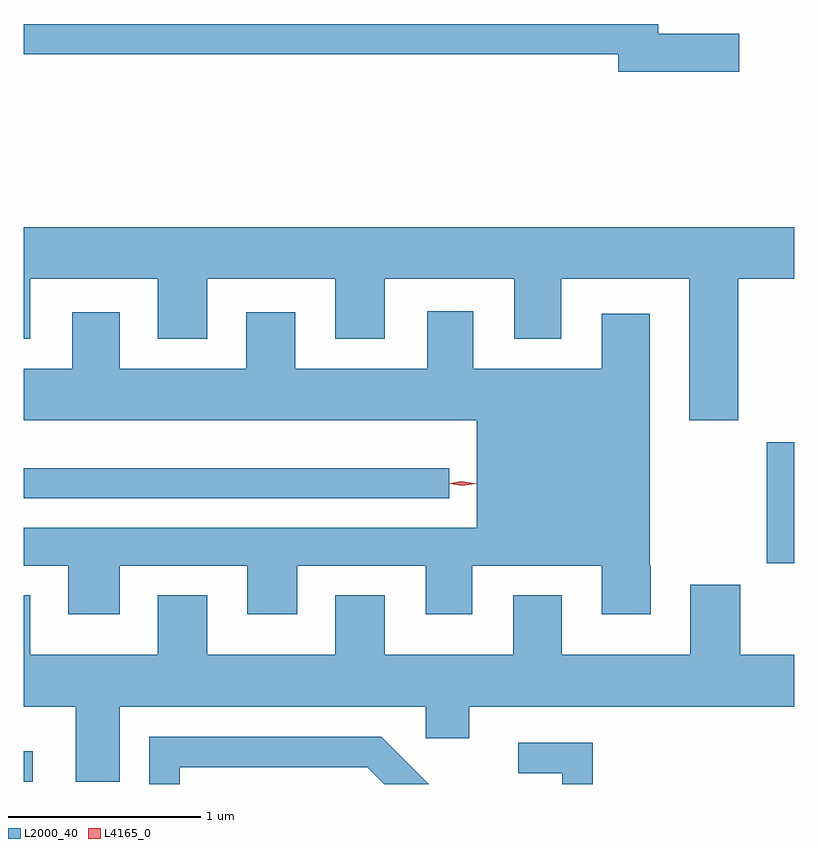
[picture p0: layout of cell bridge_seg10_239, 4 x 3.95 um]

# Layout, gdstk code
import gdstk
lib = gdstk.Library(unit=1e-6, precision=1e-09)
def R(c, l, rs):  # rectangles x0, y0, x1, y1
    for r in rs: c.add(gdstk.rectangle(r[:2], r[2:], *l))
def P(c, l, *ps):  # polygons
    for p in ps: c.add(gdstk.Polygon(p, *l))
L2000_40 = (2000, 40)
L4165_0 = (4165, 0)

bridge_seg10_239 = lib.new_cell('bridge_seg10_239')
R(bridge_seg10_239, L2000_40, [(1780.61,2097.986,1780.658,2098.144), (1784.466,2099.121,1784.61,2099.749), (1780.61,2099.456,1782.818,2099.614)])
P(bridge_seg10_239, L2000_40, [(1784.324,2101.869),(1783.904,2101.869),(1783.904,2101.919),(1780.61,2101.919),(1780.61,2101.761),(1783.696,2101.761),(1783.696,2101.671),(1784.324,2101.671)],
  [(1784.319,2100.596),(1784.61,2100.596),(1784.61,2100.864),(1780.61,2100.864),(1780.61,2100.286),(1780.644,2100.286),(1780.644,2100.596),(1781.306,2100.596),(1781.306,2100.286),(1781.564,2100.286),(1781.564,2100.596),(1782.226,2100.596),(1782.226,2100.286),(1782.484,2100.286),(1782.484,2100.596),(1783.156,2100.596),(1783.156,2100.286),(1783.399,2100.286),(1783.399,2100.596),(1784.066,2100.596),(1784.066,2099.861),(1784.319,2099.861)],
  [(1781.109,2099.106),(1781.771,2099.106),(1781.771,2098.856),(1782.029,2098.856),(1782.029,2099.106),(1782.696,2099.106),(1782.696,2098.856),(1782.939,2098.856),(1782.939,2099.106),(1783.611,2099.106),(1783.611,2098.856),(1783.864,2098.856),(1783.864,2099.11),(1783.859,2099.11),(1783.859,2100.414),(1783.611,2100.414),(1783.611,2100.129),(1782.944,2100.129),(1782.944,2100.429),(1782.706,2100.429),(1782.706,2100.129),(1782.019,2100.129),(1782.019,2100.424),(1781.766,2100.424),(1781.766,2100.129),(1781.109,2100.129),(1781.109,2100.424),(1780.861,2100.424),(1780.861,2100.129),(1780.61,2100.129),(1780.61,2099.861),(1782.961,2099.861),(1782.961,2099.304),(1780.61,2099.304),(1780.61,2099.106),(1780.841,2099.106),(1780.841,2098.856),(1781.109,2098.856)],
  [(1784.61,2098.644),(1784.329,2098.644),(1784.329,2099.009),(1784.071,2099.009),(1784.071,2098.644),(1783.404,2098.644),(1783.404,2098.954),(1783.151,2098.954),(1783.151,2098.644),(1782.484,2098.644),(1782.484,2098.954),(1782.226,2098.954),(1782.226,2098.644),(1781.564,2098.644),(1781.564,2098.954),(1781.306,2098.954),(1781.306,2098.644),(1780.644,2098.644),(1780.644,2098.954),(1780.61,2098.954),(1780.61,2098.376),(1780.881,2098.376),(1780.881,2097.986),(1781.109,2097.986),(1781.109,2098.376),(1782.696,2098.376),(1782.696,2098.211),(1782.924,2098.211),(1782.924,2098.376),(1784.61,2098.376)],
  [(1781.419,2098.061),(1782.394,2098.061),(1782.481,2097.974),(1782.712,2097.974),(1782.467,2098.219),(1781.261,2098.219),(1781.261,2097.974),(1781.419,2097.974)],
  [(1783.564,2098.189),(1783.178,2098.189),(1783.178,2098.031),(1783.406,2098.031),(1783.406,2097.974),(1783.564,2097.974)])
P(bridge_seg10_239, L4165_0, [(1782.888,2099.522),(1782.82,2099.532),(1782.819,2099.532),(1782.82,2099.533),(1782.889,2099.542),(1782.957,2099.533),(1782.958,2099.532),(1782.957,2099.532)],
  [(1782.886,2099.526),(1782.823,2099.535),(1782.823,2099.535),(1782.823,2099.536),(1782.885,2099.546),(1782.947,2099.536),(1782.948,2099.536),(1782.947,2099.535)])

lib.write_gds('bridge_seg10_239.gds')
